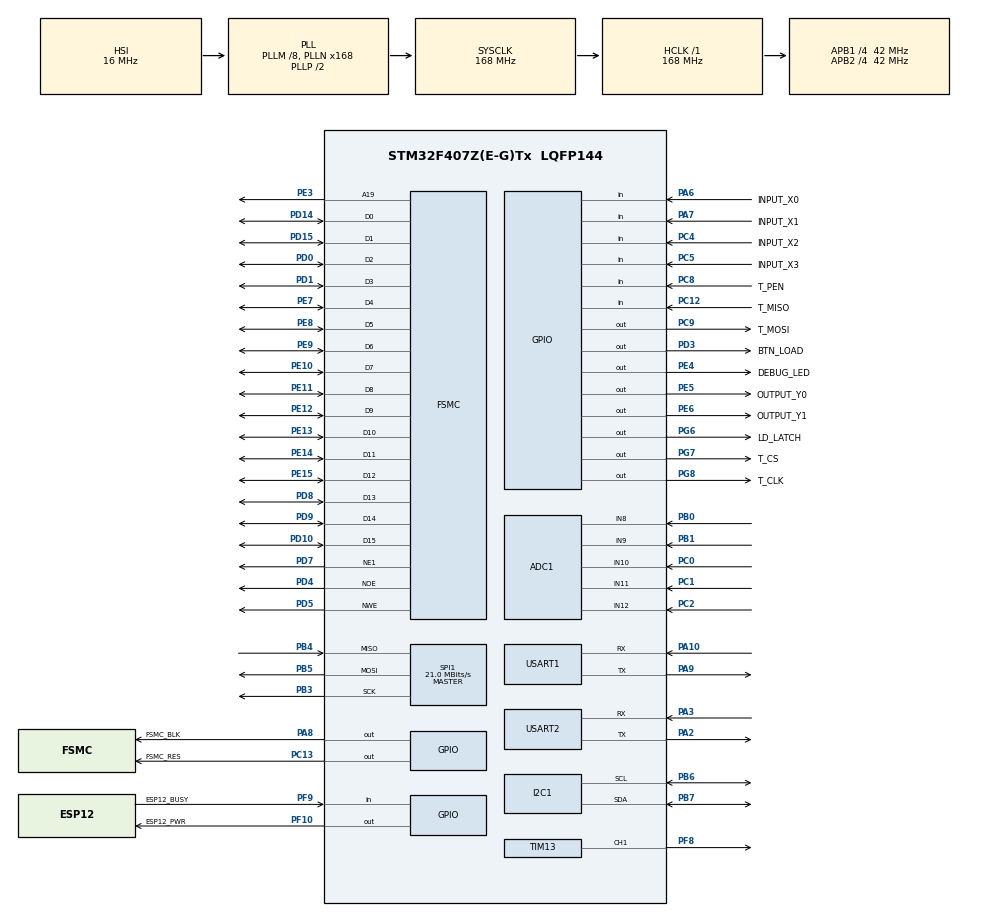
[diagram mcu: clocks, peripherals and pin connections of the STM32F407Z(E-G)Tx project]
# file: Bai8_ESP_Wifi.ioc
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ADC1.Channel-0\#ChannelRegularConversion=ADC_CHANNEL_8
ADC1.Channel-1\#ChannelRegularConversion=ADC_CHANNEL_9
ADC1.Channel-2\#ChannelRegularConversion=ADC_CHANNEL_10
ADC1.Channel-3\#ChannelRegularConversion=ADC_CHANNEL_11
ADC1.Channel-4\#ChannelRegularConversion=ADC_CHANNEL_12
ADC1.NbrOfConversion=5
ADC1.NbrOfConversionFlag=1
ADC1.Rank-0\#ChannelRegularConversion=1
ADC1.Rank-1\#ChannelRegularConversion=2
ADC1.Rank-2\#ChannelRegularConversion=3
ADC1.Rank-3\#ChannelRegularConversion=4
ADC1.Rank-4\#ChannelRegularConversion=5
ADC1.SamplingTime-0\#ChannelRegularConversion=ADC_SAMPLETIME_3CYCLES
ADC1.SamplingTime-1\#ChannelRegularConversion=ADC_SAMPLETIME_3CYCLES
ADC1.SamplingTime-2\#ChannelRegularConversion=ADC_SAMPLETIME_3CYCLES
ADC1.SamplingTime-3\#ChannelRegularConversion=ADC_SAMPLETIME_3CYCLES
ADC1.SamplingTime-4\#ChannelRegularConversion=ADC_SAMPLETIME_3CYCLES
ADC1.ScanConvMode=ENABLE
ADC1.master=1
Dma.ADC1.0.Direction=DMA_PERIPH_TO_MEMORY
Dma.ADC1.0.FIFOMode=DMA_FIFOMODE_DISABLE
Dma.ADC1.0.Instance=DMA2_Stream0
Dma.ADC1.0.MemDataAlignment=DMA_MDATAALIGN_HALFWORD
Dma.ADC1.0.MemInc=DMA_MINC_ENABLE
Dma.ADC1.0.Mode=DMA_CIRCULAR
Dma.ADC1.0.PeriphDataAlignment=DMA_PDATAALIGN_HALFWORD
Dma.ADC1.0.PeriphInc=DMA_PINC_DISABLE
Dma.ADC1.0.Priority=DMA_PRIORITY_LOW
Dma.Request0=ADC1
FSMC.AddressSetupTime1=0xf
FSMC.BusTurnAroundDuration1=0
FSMC.DataSetupTime1=60
FSMC.ExtendedAddressSetupTime1=8
FSMC.ExtendedBusTurnAroundDuration1=0
FSMC.ExtendedDataSetupTime1=9
FSMC.ExtendedMode1=FSMC_EXTENDED_MODE_ENABLE
I2C1.I2C_Mode=I2C_Standard
Mcu.Family=STM32F4
Mcu.Name=STM32F407Z(E-G)Tx
Mcu.Package=LQFP144
NVIC.DMA2_Stream0_IRQn=true\:0\:0\:false\:false\:true\:false\:true
NVIC.PriorityGroup=NVIC_PRIORITYGROUP_4
NVIC.TIM2_IRQn=true\:0\:0\:false\:false\:true\:true\:true
NVIC.USART1_IRQn=true\:0\:0\:false\:false\:true\:true\:true
NVIC.USART2_IRQn=true\:0\:0\:false\:false\:true\:true\:true
PA10.Mode=Asynchronous
PA10.Signal=USART1_RX
PA13.Mode=Serial_Wire
PA13.Signal=SYS_JTMS-SWDIO
PA14.Mode=Serial_Wire
PA14.Signal=SYS_JTCK-SWCLK
PA2.Mode=Asynchronous
PA2.Signal=USART2_TX
PA3.Mode=Asynchronous
PA3.Signal=USART2_RX
PA6.GPIO_Label=INPUT_X0
PA6.Signal=GPIO_Input
PA7.GPIO_Label=INPUT_X1
PA7.Signal=GPIO_Input
PA8.GPIO_Label=FSMC_BLK
PA8.Signal=GPIO_Output
PA9.Mode=Asynchronous
PA9.Signal=USART1_TX
PB0.Signal=ADCx_IN8
PB1.Signal=ADCx_IN9
PB3.Mode=Full_Duplex_Master
PB3.Signal=SPI1_SCK
PB4.Mode=Full_Duplex_Master
PB4.Signal=SPI1_MISO
PB5.Mode=Full_Duplex_Master
PB5.Signal=SPI1_MOSI
PB6.Mode=I2C
PB6.Signal=I2C1_SCL
PB7.Mode=I2C
PB7.Signal=I2C1_SDA
PC0.Signal=ADCx_IN10
PC1.Signal=ADCx_IN11
PC12.GPIO_Label=T_MISO
PC12.GPIO_PuPd=GPIO_PULLUP
PC12.Signal=GPIO_Input
PC13-ANTI_TAMP.GPIO_Label=FSMC_RES
PC13-ANTI_TAMP.Signal=GPIO_Output
PC2.Signal=ADCx_IN12
PC4.GPIO_Label=INPUT_X2
PC4.Signal=GPIO_Input
PC5.GPIO_Label=INPUT_X3
PC5.Signal=GPIO_Input
PC8.GPIO_Label=T_PEN
PC8.GPIO_PuPd=GPIO_PULLUP
PC8.Signal=GPIO_Input
PC9.GPIO_Label=T_MOSI
PC9.Signal=GPIO_Output
PD0.Signal=FSMC_D2_DA2
PD1.Signal=FSMC_D3_DA3
PD10.Signal=FSMC_D15_DA15
PD14.Signal=FSMC_D0_DA0
PD15.Signal=FSMC_D1_DA1
PD3.GPIO_Label=BTN_LOAD
PD3.Signal=GPIO_Output
PD4.Signal=FSMC_NOE
PD5.Signal=FSMC_NWE
PD7.Mode=NorPsramChipSelect1_1
PD7.Signal=FSMC_NE1
PD8.Signal=FSMC_D13_DA13
PD9.Signal=FSMC_D14_DA14
PE10.Signal=FSMC_D7_DA7
PE11.Signal=FSMC_D8_DA8
PE12.Signal=FSMC_D9_DA9
PE13.Signal=FSMC_D10_DA10
PE14.Signal=FSMC_D11_DA11
PE15.Signal=FSMC_D12_DA12
PE3.Signal=FSMC_A19
PE4.GPIO_Label=DEBUG_LED
PE4.Signal=GPIO_Output
PE5.GPIO_Label=OUTPUT_Y0
PE5.Signal=GPIO_Output
PE6.GPIO_Label=OUTPUT_Y1
PE6.Signal=GPIO_Output
PE7.Signal=FSMC_D4_DA4
PE8.Signal=FSMC_D5_DA5
PE9.Signal=FSMC_D6_DA6
PF10.GPIO_Label=ESP12_PWR
PF10.Signal=GPIO_Output
PF8.Signal=S_TIM13_CH1
PF9.GPIO_Label=ESP12_BUSY
PF9.Signal=GPIO_Input
PG6.GPIO_Label=LD_LATCH
PG6.Signal=GPIO_Output
PG7.GPIO_Label=T_CS
PG7.Signal=GPIO_Output
PG8.GPIO_Label=T_CLK
PG8.Signal=GPIO_Output
PH0-OSC_IN.Mode=HSE-External-Oscillator
PH0-OSC_IN.Signal=RCC_OSC_IN
PH1-OSC_OUT.Mode=HSE-External-Oscillator
PH1-OSC_OUT.Signal=RCC_OSC_OUT
ProjectManager.HeapSize=0x200
ProjectManager.StackSize=0x400
ProjectManager.TargetToolchain=STM32CubeIDE
RCC.48MHZClocksFreq_Value=84000000
RCC.AHBFreq_Value=168000000
RCC.APB1CLKDivider=RCC_HCLK_DIV4
RCC.APB1Freq_Value=42000000
RCC.APB1TimFreq_Value=84000000
RCC.APB2CLKDivider=RCC_HCLK_DIV4
RCC.APB2Freq_Value=42000000
RCC.APB2TimFreq_Value=84000000
RCC.CortexFreq_Value=168000000
RCC.HCLKFreq_Value=168000000
RCC.HSE_VALUE=8000000
RCC.HSI_VALUE=16000000
RCC.LSE_VALUE=32768
RCC.PLLM=8
RCC.PLLN=168
RCC.SYSCLKFreq_VALUE=168000000
RCC.SYSCLKSource=RCC_SYSCLKSOURCE_PLLCLK
RCC.VCOOutputFreq_Value=336000000
SH.ADCx_IN10.0=ADC1_IN10,IN10
SH.ADCx_IN11.0=ADC1_IN11,IN11
SH.ADCx_IN12.0=ADC1_IN12,IN12
SH.ADCx_IN8.0=ADC1_IN8,IN8
SH.ADCx_IN9.0=ADC1_IN9,IN9
SH.FSMC_A19.0=FSMC_A19,A19_1
SH.FSMC_D0_DA0.0=FSMC_D0,16b-d1
SH.FSMC_D10_DA10.0=FSMC_D10,16b-d1
SH.FSMC_D11_DA11.0=FSMC_D11,16b-d1
SH.FSMC_D12_DA12.0=FSMC_D12,16b-d1
SH.FSMC_D13_DA13.0=FSMC_D13,16b-d1
SH.FSMC_D14_DA14.0=FSMC_D14,16b-d1
SH.FSMC_D15_DA15.0=FSMC_D15,16b-d1
SH.FSMC_D1_DA1.0=FSMC_D1,16b-d1
SH.FSMC_D2_DA2.0=FSMC_D2,16b-d1
SH.FSMC_D3_DA3.0=FSMC_D3,16b-d1
SH.FSMC_D4_DA4.0=FSMC_D4,16b-d1
SH.FSMC_D5_DA5.0=FSMC_D5,16b-d1
SH.FSMC_D6_DA6.0=FSMC_D6,16b-d1
SH.FSMC_D7_DA7.0=FSMC_D7,16b-d1
SH.FSMC_D8_DA8.0=FSMC_D8,16b-d1
SH.FSMC_D9_DA9.0=FSMC_D9,16b-d1
SH.FSMC_NOE.0=FSMC_NOE,Lcd1
SH.FSMC_NWE.0=FSMC_NWE,Lcd1
SH.S_TIM13_CH1.0=TIM13_CH1,PWM Generation1 CH1
SPI1.BaudRatePrescaler=SPI_BAUDRATEPRESCALER_2
SPI1.CalculateBaudRate=21.0 MBits/s
SPI1.Direction=SPI_DIRECTION_2LINES
SPI1.Mode=SPI_MODE_MASTER
SPI1.VirtualType=VM_MASTER
TIM1.Prescaler=84-1
TIM13.Channel=TIM_CHANNEL_1
TIM13.Period=100-1
TIM13.Prescaler=840-1
TIM2.Period=100-1
TIM2.Prescaler=840-1
USART1.VirtualMode=VM_ASYNC
USART2.VirtualMode=VM_ASYNC
VP_TIM13_VS_ClockSourceINT.Mode=Enable_Timer
VP_TIM1_VS_ClockSourceINT.Mode=Internal
VP_TIM2_VS_ClockSourceINT.Mode=Internal
board=custom

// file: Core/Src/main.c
/* USER CODE BEGIN Header */
/**
 ******************************************************************************
 * @file           : main.c
 * @brief          : Main program body
 ******************************************************************************
 * @attention
 *
 * <h2><center>&copy; Copyright (c) 2023 STMicroelectronics.
 * All rights reserved.</center></h2>
 *
 * This software component is licensed by ST under BSD 3-Clause license,
 * the "License"; You may not use this file except in compliance with the
 * License. You may obtain a copy of the License at:
 *                        opensource.org/licenses/BSD-3-Clause
 *
 ******************************************************************************
 */
/* USER CODE END Header */
#include "main.h"
#include "adc.h"
#include "dma.h"
#include "i2c.h"
#include "spi.h"
#include "tim.h"
#include "usart.h"
#include "gpio.h"
#include "fsmc.h"

/* USER CODE BEGIN Includes */
#include "software_timer.h"
#include "led_7seg.h"
#include "button.h"
#include "lcd.h"
#include "picture.h"
#include "ds3231.h"
#include "sensor.h"
#include "buzzer.h"
#include "touch.h"
#include "uart.h"
#include "light_control.h"
/* USER CODE END Includes */

void SystemClock_Config(void);
/* USER CODE BEGIN PFP */
void system_init();
void test_LedDebug();
/* USER CODE END PFP */

int main(void)
{

  /* MCU Configuration--------------------------------------------------------*/

  /* Reset of all peripherals, Initializes the Flash interface and the Systick. */
  HAL_Init();

  /* Configure the system clock */
  SystemClock_Config();

  /* Initialize all configured peripherals */
  MX_GPIO_Init();
  MX_TIM2_Init();
  MX_SPI1_Init();
  MX_FSMC_Init();
  MX_I2C1_Init();
  MX_TIM13_Init();
  MX_DMA_Init();
  MX_ADC1_Init();
  MX_TIM1_Init();
  MX_USART2_UART_Init();
  MX_USART1_UART_Init();
  /* USER CODE BEGIN 2 */
  system_init();
  /* USER CODE END 2 */

  /* Infinite loop */
  /* USER CODE BEGIN WHILE */
  lcd_Clear(BLACK);
  while (1)
  {
    // 50ms task
    if (flag_timer2 == 1)
    {
      flag_timer2 = 0;
      button_Scan();
      sensor_Read(); // Continuously update sensor readings
      test_Esp();
      lightProcess();
      temperatureProcess();
      test_LedDebug();
    }

    /* USER CODE END WHILE */

  }
}

void SystemClock_Config(void)
{
  RCC_OscInitTypeDef RCC_OscInitStruct = {0};
  RCC_ClkInitTypeDef RCC_ClkInitStruct = {0};

  /** Configure the main internal regulator output voltage
   */
  __HAL_RCC_PWR_CLK_ENABLE();
  __HAL_PWR_VOLTAGESCALING_CONFIG(PWR_REGULATOR_VOLTAGE_SCALE1);
  /** Initializes the RCC Oscillators according to the specified parameters
   * in the RCC_OscInitTypeDef structure.
   */
  RCC_OscInitStruct.OscillatorType = RCC_OSCILLATORTYPE_HSI;
  RCC_OscInitStruct.HSIState = RCC_HSI_ON;
  RCC_OscInitStruct.HSICalibrationValue = RCC_HSICALIBRATION_DEFAULT;
  RCC_OscInitStruct.PLL.PLLState = RCC_PLL_ON;
  RCC_OscInitStruct.PLL.PLLSource = RCC_PLLSOURCE_HSI;
  RCC_OscInitStruct.PLL.PLLM = 8;
  RCC_OscInitStruct.PLL.PLLN = 168;
  RCC_OscInitStruct.PLL.PLLP = RCC_PLLP_DIV2;
  RCC_OscInitStruct.PLL.PLLQ = 4;
  if (HAL_RCC_OscConfig(&RCC_OscInitStruct) != HAL_OK)
  {
    Error_Handler();
  }
  /** Initializes the CPU, AHB and APB buses clocks
   */
  RCC_ClkInitStruct.ClockType = RCC_CLOCKTYPE_HCLK | RCC_CLOCKTYPE_SYSCLK | RCC_CLOCKTYPE_PCLK1 | RCC_CLOCKTYPE_PCLK2;
  RCC_ClkInitStruct.SYSCLKSource = RCC_SYSCLKSOURCE_PLLCLK;
  RCC_ClkInitStruct.AHBCLKDivider = RCC_SYSCLK_DIV1;
  RCC_ClkInitStruct.APB1CLKDivider = RCC_HCLK_DIV4;
  RCC_ClkInitStruct.APB2CLKDivider = RCC_HCLK_DIV4;

  if (HAL_RCC_ClockConfig(&RCC_ClkInitStruct, FLASH_LATENCY_5) != HAL_OK)
  {
    Error_Handler();
  }
}

/* USER CODE BEGIN 4 */
void system_init()
{
  timer_init();
  button_init();
  lcd_init();
  uart_init_esp();
  sensor_init();
  setTimer2(50);
}

uint8_t count_led_debug = 0;

void test_LedDebug()
{
  count_led_debug = (count_led_debug + 1) % 20;
  if (count_led_debug == 0)
  {
    HAL_GPIO_TogglePin(DEBUG_LED_GPIO_Port, DEBUG_LED_Pin);
  }
}

/* USER CODE END 4 */

void Error_Handler(void)
{
  __disable_irq();
  while (1)
  {
  }
}

/************************ (C) COPYRIGHT STMicroelectronics *****END OF FILE****/
